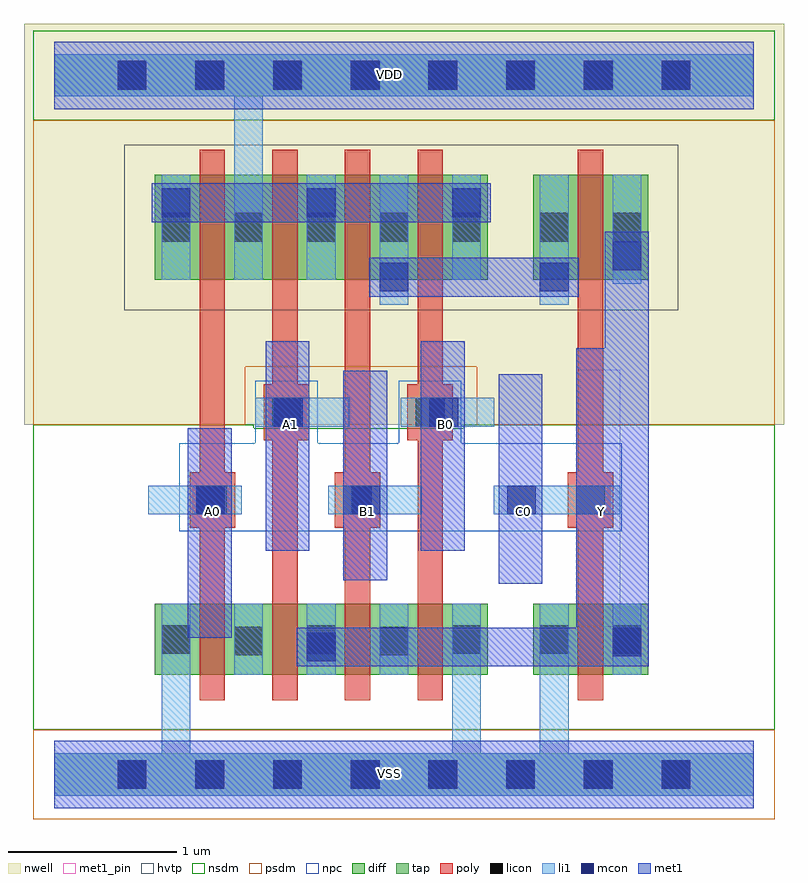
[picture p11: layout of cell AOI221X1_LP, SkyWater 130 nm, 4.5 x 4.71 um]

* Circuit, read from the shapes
.subckt AOI221X1_LP A0 A1 B0 B1 C0 VDD VSS Y
XM1 n1 A0 VSS VSS sky130_fd_pr__nfet_01v8 w=0.42 l=0.15
XM2 Y A1 n1 VSS sky130_fd_pr__nfet_01v8 w=0.42 l=0.15
XM3 n2 B1 Y VSS sky130_fd_pr__nfet_01v8 w=0.42 l=0.15
XM4 VSS B0 n2 VSS sky130_fd_pr__nfet_01v8 w=0.42 l=0.15
XM5 Y C0 VSS VSS sky130_fd_pr__nfet_01v8 w=0.42 l=0.15
XM6 VDD A0 n3 VDD sky130_fd_pr__pfet_01v8_hvt w=0.62 l=0.15
XM7 n3 A1 VDD VDD sky130_fd_pr__pfet_01v8_hvt w=0.62 l=0.15
XM8 n4 B1 n3 VDD sky130_fd_pr__pfet_01v8_hvt w=0.62 l=0.15
XM9 n3 B0 n4 VDD sky130_fd_pr__pfet_01v8_hvt w=0.62 l=0.15
XM10 Y C0 n4 VDD sky130_fd_pr__pfet_01v8_hvt w=0.62 l=0.15
.ends

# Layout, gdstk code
from math import pi, radians
import gdstk
lib = gdstk.Library(unit=1e-6, precision=1e-09)
def R(c, l, rs):  # rectangles x0, y0, x1, y1
    for r in rs: c.add(gdstk.rectangle(r[:2], r[2:], *l))
def A(c, l, x, y, w, h, nx, ny, dx, dy):  # array of equal rectangles
    R(c, l, [(x+i*dx, y+j*dy, x+i*dx+w, y+j*dy+h) for i in range(nx) for j in range(ny)])
def P(c, l, *ps):  # polygons
    for p in ps: c.add(gdstk.Polygon(p, *l))
nwell = (64, 20)
diff = (65, 20)
tap = (65, 44)
poly = (66, 20)
licon = (66, 44)
li1 = (67, 20)
mcon = (67, 44)
met1_pin = (68, 16)
met1 = (68, 20)
hvtp = (78, 44)
nsdm = (93, 44)
psdm = (94, 20)
npc = (95, 20)

l1m1_c_cdns_752016907001 = lib.new_cell('L1M1_C_CDNS_752016907001')
R(l1m1_c_cdns_752016907001, li1, [(-0.085,-0.165,0.085,0.165)])
R(l1m1_c_cdns_752016907001, mcon, [(-0.085,-0.085,0.085,0.085)])
R(l1m1_c_cdns_752016907001, met1, [(-0.115,-0.145,0.115,0.145)])

l1m1_c_cdns_752016907003 = lib.new_cell('L1M1_C_CDNS_752016907003')
R(l1m1_c_cdns_752016907003, li1, [(-0.165,-0.085,0.165,0.085)])
R(l1m1_c_cdns_752016907003, mcon, [(-0.085,-0.085,0.085,0.085)])
R(l1m1_c_cdns_752016907003, met1, [(-0.115,-0.145,0.115,0.145)])

pyl1con_c_cdns_752016907 = lib.new_cell('PYL1CON_C_CDNS_752016907000')
R(pyl1con_c_cdns_752016907, poly, [(-0.135,-0.165,0.135,0.165)])
R(pyl1con_c_cdns_752016907, licon, [(-0.085,-0.085,0.085,0.085)])
R(pyl1con_c_cdns_752016907, npc, [(-0.185,-0.185,0.185,0.185)])

aoi221x1_lp = lib.new_cell('AOI221X1_LP')
R(aoi221x1_lp, nwell, [(-0.18,2.07,4.32,4.445)])
R(aoi221x1_lp, diff, [(0.595,0.59,2.565,1.01), (2.835,0.59,3.515,1.01), (0.595,2.93,2.565,3.55), (2.835,2.93,3.515,3.55)])
A(aoi221x1_lp, poly, 0.86, 0.44, 0.15, 3.26, 4, 1, 0.43, 0)
R(aoi221x1_lp, poly, [(3.1,0.44,3.25,3.7)])
A(aoi221x1_lp, licon, 0.375, -0.085, 0.17, 0.17, 8, 2, 0.46, 4.14)
A(aoi221x1_lp, licon, 0.635, 0.715, 0.17, 0.17, 3, 1, 0.86, 0)
A(aoi221x1_lp, licon, 0.635, 3.155, 0.17, 0.17, 5, 1, 0.43, 0)
R(aoi221x1_lp, licon, [(1.065,0.705,1.235,0.875), (1.925,0.705,2.095,0.875), (2.875,0.715,3.045,0.885), (3.305,0.715,3.475,0.885), (2.875,3.155,3.045,3.325), (3.305,3.155,3.475,3.325)])
A(aoi221x1_lp, li1, 1.495, 2.93, 0.17, 0.62, 3, 1, 0.43, 0)
R(aoi221x1_lp, li1, [(1.495,0.59,1.665,1.01), (3.305,0.59,3.475,1.01), (0.635,2.93,0.805,3.55), (2.875,2.93,3.045,3.55), (3.305,2.93,3.475,3.55)])
P(aoi221x1_lp, li1, [(4.14,4.265),(0,4.265),(0,4.015),(1.065,4.015),(1.065,2.93),(1.235,2.93),(1.235,4.015),(4.14,4.015)],
  [(4.14,0.125),(3.045,0.125),(3.045,1.01),(2.875,1.01),(2.875,0.125),(2.525,0.125),(2.525,1.01),(2.355,1.01),(2.355,0.125),(0.805,0.125),(0.805,1.01),(0.635,1.01),(0.635,0.125),(0,0.125),(0,-0.125),(4.14,-0.125)])
A(aoi221x1_lp, mcon, 0.375, -0.085, 0.17, 0.17, 8, 2, 0.46, 4.14)
R(aoi221x1_lp, met1_pin, [(0.79,0.81,1.05,2.05), (3.09,0.875,3.35,2.395), (2.63,1.13,2.89,2.37), (1.71,1.15,1.97,2.39), (1.25,1.325,1.51,2.565), (2.17,1.325,2.43,2.565)])
P(aoi221x1_lp, met1, [(3.52,3.215),(3.26,3.215),(3.26,2.525),(3.09,2.525),(3.09,0.87),(1.435,0.87),(1.435,0.64),(3.52,0.64)])
R(aoi221x1_lp, hvtp, [(0.415,2.75,3.695,3.73)])
R(aoi221x1_lp, nsdm, [(-0.125,3.875,4.265,4.405)])
P(aoi221x1_lp, nsdm, [(4.265,2.07),(2.425,2.07),(2.425,2.05),(1.18,2.05),(1.18,2.07),(-0.125,2.07),(-0.125,0.265),(4.265,0.265)])
R(aoi221x1_lp, psdm, [(-0.125,-0.265,4.265,0.265)])
P(aoi221x1_lp, psdm, [(4.265,3.875),(-0.125,3.875),(-0.125,2.07),(1.13,2.07),(1.13,2.415),(2.5,2.415),(2.5,2.07),(4.265,2.07)])
R(aoi221x1_lp, npc, [(0.74,1.44,3.36,1.96)])
aoi221x1_lp.add(gdstk.FlexPath([(2.605,2.145),(2.05,2.145)], 0.17, ends="flush", simple_path=True, layer=67, datatype=20))  # li1
aoi221x1_lp.add(gdstk.FlexPath([(2.795,1.625),(3.35,1.625)], 0.17, ends="flush", simple_path=True, layer=67, datatype=20))  # li1
aoi221x1_lp.add(gdstk.FlexPath([(0.555,1.625),(1.11,1.625)], 0.17, ends="flush", simple_path=True, layer=67, datatype=20))  # li1
aoi221x1_lp.add(gdstk.FlexPath([(1.15,1.01),(1.15,0.59)], 0.17, ends="flush", simple_path=True, layer=67, datatype=20))  # li1
aoi221x1_lp.add(gdstk.FlexPath([(2.01,1.01),(2.01,0.59)], 0.17, ends="flush", simple_path=True, layer=67, datatype=20))  # li1
aoi221x1_lp.add(gdstk.FlexPath([(2.175,1.625),(1.62,1.625)], 0.17, ends="flush", simple_path=True, layer=67, datatype=20))  # li1
aoi221x1_lp.add(gdstk.FlexPath([(1.745,2.145),(1.19,2.145)], 0.17, ends="flush", simple_path=True, layer=67, datatype=20))  # li1
aoi221x1_lp.add(gdstk.FlexPath([(0,4.14),(4.14,4.14)], 0.25, ends="flush", simple_path=True, layer=65, datatype=44))  # tap
aoi221x1_lp.add(gdstk.FlexPath([(0,0),(4.14,0)], 0.25, ends="flush", simple_path=True, layer=65, datatype=44))  # tap
aoi221x1_lp.add(gdstk.FlexPath([(0,4.14),(4.14,4.14)], 0.4, ends="flush", simple_path=True, layer=68, datatype=20))  # met1
aoi221x1_lp.add(gdstk.FlexPath([(0,0),(4.14,0)], 0.4, ends="flush", simple_path=True, layer=68, datatype=20))  # met1
aoi221x1_lp.add(gdstk.FlexPath([(2.76,1.13),(2.76,2.37)], 0.26, ends="flush", simple_path=True, layer=68, datatype=20))  # met1
aoi221x1_lp.add(gdstk.FlexPath([(1.38,1.325),(1.38,2.565)], 0.26, ends="flush", simple_path=True, layer=68, datatype=20))  # met1
aoi221x1_lp.add(gdstk.FlexPath([(2.3,1.325),(2.3,2.565)], 0.26, ends="flush", simple_path=True, layer=68, datatype=20))  # met1
aoi221x1_lp.add(gdstk.FlexPath([(1.865,2.945),(3.105,2.945)], 0.23, ends="flush", simple_path=True, layer=68, datatype=20))  # met1
aoi221x1_lp.add(gdstk.FlexPath([(0.575,3.385),(2.585,3.385)], 0.23, ends="flush", simple_path=True, layer=68, datatype=20))  # met1
aoi221x1_lp.add(gdstk.FlexPath([(1.84,1.15),(1.84,2.39)], 0.26, ends="flush", simple_path=True, layer=68, datatype=20))  # met1
aoi221x1_lp.add(gdstk.FlexPath([(0.92,0.81),(0.92,2.05)], 0.26, ends="flush", simple_path=True, layer=68, datatype=20))  # met1
aoi221x1_lp.add(gdstk.FlexPath([(0,4.14),(4.14,4.14)], 0.4, ends="flush", simple_path=True, layer=68, datatype=16))  # met1_pin
aoi221x1_lp.add(gdstk.FlexPath([(0,0),(4.14,0)], 0.4, ends="flush", simple_path=True, layer=68, datatype=16))  # met1_pin
aoi221x1_lp.add(gdstk.Reference(l1m1_c_cdns_752016907001, (3.39,3.07)))
aoi221x1_lp.add(gdstk.Reference(l1m1_c_cdns_752016907001, (3.39,0.785)))
aoi221x1_lp.add(gdstk.Reference(l1m1_c_cdns_752016907003, (2.765,1.625), x_reflection=True))
aoi221x1_lp.add(gdstk.Reference(l1m1_c_cdns_752016907003, (2.305,2.145), x_reflection=True))
aoi221x1_lp.add(gdstk.Reference(l1m1_c_cdns_752016907003, (1.845,1.625), x_reflection=True))
aoi221x1_lp.add(gdstk.Reference(l1m1_c_cdns_752016907003, (1.385,2.145), x_reflection=True))
aoi221x1_lp.add(gdstk.Reference(l1m1_c_cdns_752016907003, (1.58,0.755), rotation=pi/2))
aoi221x1_lp.add(gdstk.Reference(l1m1_c_cdns_752016907003, (2.01,2.945), rotation=pi/2))
aoi221x1_lp.add(gdstk.Reference(l1m1_c_cdns_752016907003, (2.44,3.385), rotation=pi/2))
aoi221x1_lp.add(gdstk.Reference(l1m1_c_cdns_752016907003, (1.58,3.385), rotation=pi/2))
aoi221x1_lp.add(gdstk.Reference(l1m1_c_cdns_752016907003, (0.72,3.385), rotation=pi/2))
aoi221x1_lp.add(gdstk.Reference(l1m1_c_cdns_752016907003, (2.96,2.945), rotation=pi/2))
aoi221x1_lp.add(gdstk.Reference(l1m1_c_cdns_752016907003, (0.925,1.625), x_reflection=True))
aoi221x1_lp.add(gdstk.Reference(pyl1con_c_cdns_752016907, (2.225,2.145)))
aoi221x1_lp.add(gdstk.Reference(pyl1con_c_cdns_752016907, (1.375,2.145)))
aoi221x1_lp.add(gdstk.Reference(pyl1con_c_cdns_752016907, (1.795,1.625)))
aoi221x1_lp.add(gdstk.Reference(pyl1con_c_cdns_752016907, (0.935,1.625)))
aoi221x1_lp.add(gdstk.Reference(pyl1con_c_cdns_752016907, (3.175,1.625)))
aoi221x1_lp.add(gdstk.Label('VSS', (1.985,0.005), layer=68, texttype=5))
aoi221x1_lp.add(gdstk.Label('VDD', (1.985,4.145), layer=68, texttype=5))
aoi221x1_lp.add(gdstk.Label('B0', (2.315,2.075), layer=68, texttype=5))
aoi221x1_lp.add(gdstk.Label('C0', (2.775,1.555), layer=68, texttype=5))
aoi221x1_lp.add(gdstk.Label('B1', (1.855,1.555), layer=68, texttype=5))
aoi221x1_lp.add(gdstk.Label('Y', (3.24,1.555), layer=68, texttype=5))
aoi221x1_lp.add(gdstk.Label('A0', (0.935,1.555), layer=68, texttype=5))
aoi221x1_lp.add(gdstk.Label('A1', (1.395,2.075), layer=68, texttype=5))

lib.write_gds('AOI221X1_LP.gds')
